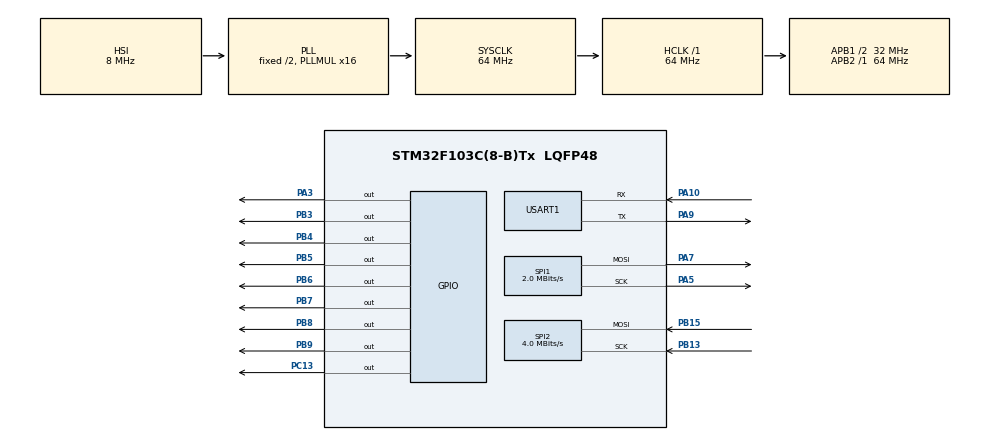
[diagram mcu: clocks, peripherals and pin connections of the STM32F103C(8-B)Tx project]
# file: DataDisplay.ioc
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Dma.Request0=SPI2_RX
Dma.Request1=USART1_RX
Dma.Request2=SPI1_TX
Dma.SPI1_TX.2.Direction=DMA_MEMORY_TO_PERIPH
Dma.SPI1_TX.2.Instance=DMA1_Channel3
Dma.SPI1_TX.2.MemDataAlignment=DMA_MDATAALIGN_BYTE
Dma.SPI1_TX.2.MemInc=DMA_MINC_ENABLE
Dma.SPI1_TX.2.Mode=DMA_NORMAL
Dma.SPI1_TX.2.PeriphDataAlignment=DMA_PDATAALIGN_BYTE
Dma.SPI1_TX.2.PeriphInc=DMA_PINC_DISABLE
Dma.SPI1_TX.2.Priority=DMA_PRIORITY_VERY_HIGH
Dma.SPI2_RX.0.Direction=DMA_PERIPH_TO_MEMORY
Dma.SPI2_RX.0.Instance=DMA1_Channel4
Dma.SPI2_RX.0.MemDataAlignment=DMA_MDATAALIGN_BYTE
Dma.SPI2_RX.0.MemInc=DMA_MINC_ENABLE
Dma.SPI2_RX.0.Mode=DMA_NORMAL
Dma.SPI2_RX.0.PeriphDataAlignment=DMA_PDATAALIGN_BYTE
Dma.SPI2_RX.0.PeriphInc=DMA_PINC_DISABLE
Dma.SPI2_RX.0.Priority=DMA_PRIORITY_HIGH
Dma.USART1_RX.1.Direction=DMA_PERIPH_TO_MEMORY
Dma.USART1_RX.1.Instance=DMA1_Channel5
Dma.USART1_RX.1.MemDataAlignment=DMA_MDATAALIGN_BYTE
Dma.USART1_RX.1.MemInc=DMA_MINC_ENABLE
Dma.USART1_RX.1.Mode=DMA_CIRCULAR
Dma.USART1_RX.1.PeriphDataAlignment=DMA_PDATAALIGN_BYTE
Dma.USART1_RX.1.PeriphInc=DMA_PINC_DISABLE
Dma.USART1_RX.1.Priority=DMA_PRIORITY_LOW
Mcu.Family=STM32F1
Mcu.Name=STM32F103C(8-B)Tx
Mcu.Package=LQFP48
NVIC.DMA1_Channel3_IRQn=true\:0\:0\:false\:false\:true\:false
NVIC.DMA1_Channel4_IRQn=true\:0\:0\:false\:false\:true\:false
NVIC.DMA1_Channel5_IRQn=true\:0\:0\:false\:false\:true\:false
NVIC.PriorityGroup=NVIC_PRIORITYGROUP_4
NVIC.SPI2_IRQn=true\:0\:0\:false\:false\:true\:true
NVIC.TIM1_UP_IRQn=true\:0\:0\:false\:false\:true\:true
PA10.Mode=Asynchronous
PA10.Signal=USART1_RX
PA13.Mode=Serial_Wire
PA13.Signal=SYS_JTMS-SWDIO
PA14.Mode=Serial_Wire
PA14.Signal=SYS_JTCK-SWCLK
PA3.Signal=GPIO_Output
PA5.Mode=TX_Only_Simplex_Unidirect_Master
PA5.Signal=SPI1_SCK
PA7.Mode=TX_Only_Simplex_Unidirect_Master
PA7.Signal=SPI1_MOSI
PA9.Mode=Asynchronous
PA9.Signal=USART1_TX
PB13.Mode=RX_Only_Simplex_Unidirect_Slave
PB13.Signal=SPI2_SCK
PB15.Mode=RX_Only_Simplex_Unidirect_Slave
PB15.Signal=SPI2_MOSI
PB3.Signal=GPIO_Output
PB4.Signal=GPIO_Output
PB5.Signal=GPIO_Output
PB6.Signal=GPIO_Output
PB7.Signal=GPIO_Output
PB8.Signal=GPIO_Output
PB9.Signal=GPIO_Output
PC13-TAMPER-RTC.GPIO_ModeDefaultOutputPP=GPIO_MODE_OUTPUT_PP
PC13-TAMPER-RTC.Signal=GPIO_Output
ProjectManager.HeapSize=0x200
ProjectManager.StackSize=0x400
ProjectManager.TargetToolchain=TrueSTUDIO
RCC.AHBFreq_Value=64000000
RCC.APB1CLKDivider=RCC_HCLK_DIV2
RCC.APB1Freq_Value=32000000
RCC.APB1TimFreq_Value=64000000
RCC.APB2Freq_Value=64000000
RCC.APB2TimFreq_Value=64000000
RCC.HCLKFreq_Value=64000000
RCC.PLLMUL=RCC_PLL_MUL16
RCC.SYSCLKFreq_VALUE=64000000
RCC.SYSCLKSource=RCC_SYSCLKSOURCE_PLLCLK
RCC.USBFreq_Value=64000000
SPI1.BaudRatePrescaler=SPI_BAUDRATEPRESCALER_32
SPI1.CalculateBaudRate=2.0 MBits/s
SPI1.Direction=SPI_DIRECTION_2LINES
SPI1.Mode=SPI_MODE_MASTER
SPI1.VirtualType=VM_MASTER
SPI2.BaudRatePrescaler=SPI_BAUDRATEPRESCALER_8
SPI2.CalculateBaudRate=4.0 MBits/s
SPI2.Direction=SPI_DIRECTION_2LINES_RXONLY
SPI2.Mode=SPI_MODE_SLAVE
SPI2.VirtualType=VM_SLAVE
TIM1.Period=1000
TIM1.Prescaler=64
USART1.VirtualMode=VM_ASYNC
VP_TIM1_VS_ClockSourceINT.Mode=Internal
board=custom

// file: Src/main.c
/**
  ******************************************************************************
  * @file           : main.c
  * @brief          : Main program body
  ******************************************************************************
  ** This notice applies to any and all portions of this file
  * that are not between comment pairs USER CODE BEGIN and
  * USER CODE END. Other portions of this file, whether
  * inserted by the user or by software development tools
  * are owned by their respective copyright owners.
  *
  * COPYRIGHT(c) 2018 STMicroelectronics
  *
  * Redistribution and use in source and binary forms, with or without modification,
  * are permitted provided that the following conditions are met:
  *   1. Redistributions of source code must retain the above copyright notice,
  *      this list of conditions and the following disclaimer.
  *   2. Redistributions in binary form must reproduce the above copyright notice,
  *      this list of conditions and the following disclaimer in the documentation
  *      and/or other materials provided with the distribution.
  *   3. Neither the name of STMicroelectronics nor the names of its contributors
  *      may be used to endorse or promote products derived from this software
  *      without specific prior written permission.
  *
  * THIS SOFTWARE IS PROVIDED BY THE COPYRIGHT HOLDERS AND CONTRIBUTORS "AS IS"
  * AND ANY EXPRESS OR IMPLIED WARRANTIES, INCLUDING, BUT NOT LIMITED TO, THE
  * IMPLIED WARRANTIES OF MERCHANTABILITY AND FITNESS FOR A PARTICULAR PURPOSE ARE
  * DISCLAIMED. IN NO EVENT SHALL THE COPYRIGHT HOLDER OR CONTRIBUTORS BE LIABLE
  * FOR ANY DIRECT, INDIRECT, INCIDENTAL, SPECIAL, EXEMPLARY, OR CONSEQUENTIAL
  * DAMAGES (INCLUDING, BUT NOT LIMITED TO, PROCUREMENT OF SUBSTITUTE GOODS OR
  * SERVICES; LOSS OF USE, DATA, OR PROFITS; OR BUSINESS INTERRUPTION) HOWEVER
  * CAUSED AND ON ANY THEORY OF LIABILITY, WHETHER IN CONTRACT, STRICT LIABILITY,
  * OR TORT (INCLUDING NEGLIGENCE OR OTHERWISE) ARISING IN ANY WAY OUT OF THE USE
  * OF THIS SOFTWARE, EVEN IF ADVISED OF THE POSSIBILITY OF SUCH DAMAGE.
  *
  ******************************************************************************
  */
#include "main.h"
#include "stm32f1xx_hal.h"
#include "dma.h"
#include "spi.h"
#include "tim.h"
#include "usart.h"
#include "gpio.h"

/* USER CODE BEGIN Includes */
#include <string.h>
#include "bitmap.h"
#include "matrix.h"
#include "spi_receiver.h"
#include "uart_protocol.h"
/* USER CODE END Includes */

/* USER CODE BEGIN PV */
/* Private variables ---------------------------------------------------------*/

/* USER CODE END PV */

void SystemClock_Config(void);

/* USER CODE BEGIN PFP */
/* Private function prototypes -----------------------------------------------*/

/* USER CODE END PFP */

int main(void)
{

  /* MCU Configuration----------------------------------------------------------*/

  /* Reset of all peripherals, Initializes the Flash interface and the Systick. */
  HAL_Init();

  /* Configure the system clock */
  SystemClock_Config();

  /* Initialize all configured peripherals */
  MX_GPIO_Init();
  MX_DMA_Init();
  MX_SPI1_Init();
  MX_USART1_UART_Init();
  MX_TIM1_Init();
  MX_SPI2_Init();
  /* USER CODE BEGIN 2 */
  setReset(0);
  memset(frameBuffer1, 255, FB_SIZE);
  startDisplayMultiplex();
  HAL_Delay(1000);
  memset(frameBuffer1, 0, FB_SIZE);
  memset(frameBuffer2, 0, FB_SIZE);
  memset(staticData, 0, FB_SIZE);
  memset(staticMask, 0, FB_SIZE);
  initBitmap();

  HAL_GPIO_WritePin(GPIOC, (1 << 13), 1);
  startUartRxRingBuffer(&huart1);
  frameCounter = 0;
  /* USER CODE END 2 */

  /* Infinite loop */
  /* USER CODE BEGIN WHILE */
  while (1)
  {
	  if(frameBufferSwitchPending == 0) {
		  writeFrameBuffer(getInactiveFrameBuffer());
		  switchFrameBuffer();
		  handleScrolling();
		  handleBlinking();
		  frameCounter++;
		  if(frameCounter > MAX_FRAME_COUNTER) frameCounter = 0;
	  }
	  handleUartProtocol();
	  startReceivingFrameSPI();
  /* USER CODE END WHILE */

  }

}

void SystemClock_Config(void)
{

  RCC_OscInitTypeDef RCC_OscInitStruct;
  RCC_ClkInitTypeDef RCC_ClkInitStruct;

    /**Initializes the CPU, AHB and APB busses clocks
    */
  RCC_OscInitStruct.OscillatorType = RCC_OSCILLATORTYPE_HSI;
  RCC_OscInitStruct.HSIState = RCC_HSI_ON;
  RCC_OscInitStruct.HSICalibrationValue = 16;
  RCC_OscInitStruct.PLL.PLLState = RCC_PLL_ON;
  RCC_OscInitStruct.PLL.PLLSource = RCC_PLLSOURCE_HSI_DIV2;
  RCC_OscInitStruct.PLL.PLLMUL = RCC_PLL_MUL16;
  if (HAL_RCC_OscConfig(&RCC_OscInitStruct) != HAL_OK)
  {
    _Error_Handler(__FILE__, __LINE__);
  }

    /**Initializes the CPU, AHB and APB busses clocks
    */
  RCC_ClkInitStruct.ClockType = RCC_CLOCKTYPE_HCLK|RCC_CLOCKTYPE_SYSCLK
                              |RCC_CLOCKTYPE_PCLK1|RCC_CLOCKTYPE_PCLK2;
  RCC_ClkInitStruct.SYSCLKSource = RCC_SYSCLKSOURCE_PLLCLK;
  RCC_ClkInitStruct.AHBCLKDivider = RCC_SYSCLK_DIV1;
  RCC_ClkInitStruct.APB1CLKDivider = RCC_HCLK_DIV2;
  RCC_ClkInitStruct.APB2CLKDivider = RCC_HCLK_DIV1;

  if (HAL_RCC_ClockConfig(&RCC_ClkInitStruct, FLASH_LATENCY_2) != HAL_OK)
  {
    _Error_Handler(__FILE__, __LINE__);
  }

    /**Configure the Systick interrupt time
    */
  HAL_SYSTICK_Config(HAL_RCC_GetHCLKFreq()/1000);

    /**Configure the Systick
    */
  HAL_SYSTICK_CLKSourceConfig(SYSTICK_CLKSOURCE_HCLK);

  /* SysTick_IRQn interrupt configuration */
  HAL_NVIC_SetPriority(SysTick_IRQn, 0, 0);
}

void _Error_Handler(char *file, int line)
{
  while(1)
  {
  }
}

/************************ (C) COPYRIGHT STMicroelectronics *****END OF FILE****/
